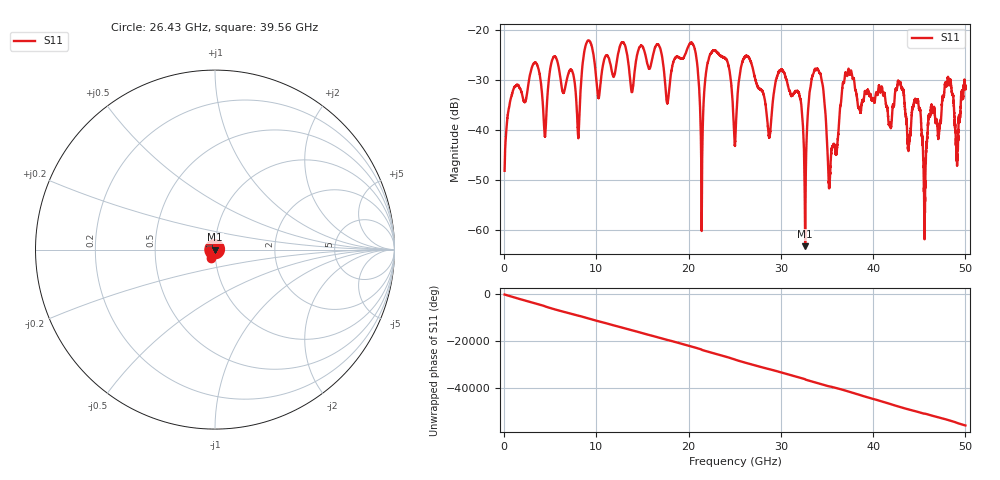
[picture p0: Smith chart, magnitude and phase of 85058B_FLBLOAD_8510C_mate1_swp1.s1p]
!Created with skrf (http://scikit-rf.org).
# Hz S RI R 50.0
!freq ReS11 ImS11
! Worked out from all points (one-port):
!   10001 points, 45 MHz to 50 GHz, reference 50 ohm
!   lowest |S11| = -63.2 dB at 32.63 GHz (marker M1), VSWR 1.00, Z = 50 - j0.0691 ohm
!   |S11| at or under -10 dB: start of sweep to end of sweep
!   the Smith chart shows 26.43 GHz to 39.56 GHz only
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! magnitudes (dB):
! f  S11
! 45 MHz  -48.1
! 3.212 GHz  -26.8
! 4.396 GHz  -41.1
! 5.31 GHz  -25.6
! 6.289 GHz  -32.0
! 12.53 GHz  -23.4
! 18.78 GHz  -25.4
! 20.58 GHz  -23.4
! 21.42 GHz  -56.1
! 22.22 GHz  -25.5
! 23.97 GHz  -25.8
! 25.02 GHz  -43.2
! 26.19 GHz  -25.3
! 28.71 GHz  -41.3
! 29.84 GHz  -28.2
! 31.27 GHz  -33.1
! 32.63 GHz  -63.2
! 33.59 GHz  -28.3
! 35.28 GHz  -50.6
! 37.51 GHz  -28.9
! 42.89 GHz  -30.5
! 43.76 GHz  -42.6
! 44.79 GHz  -34.1
! 45.61 GHz  -56.5
! 46.22 GHz  -36.2
! 48.24 GHz  -30.9
! 49.11 GHz  -45.7
! 50 GHz  -31.9
